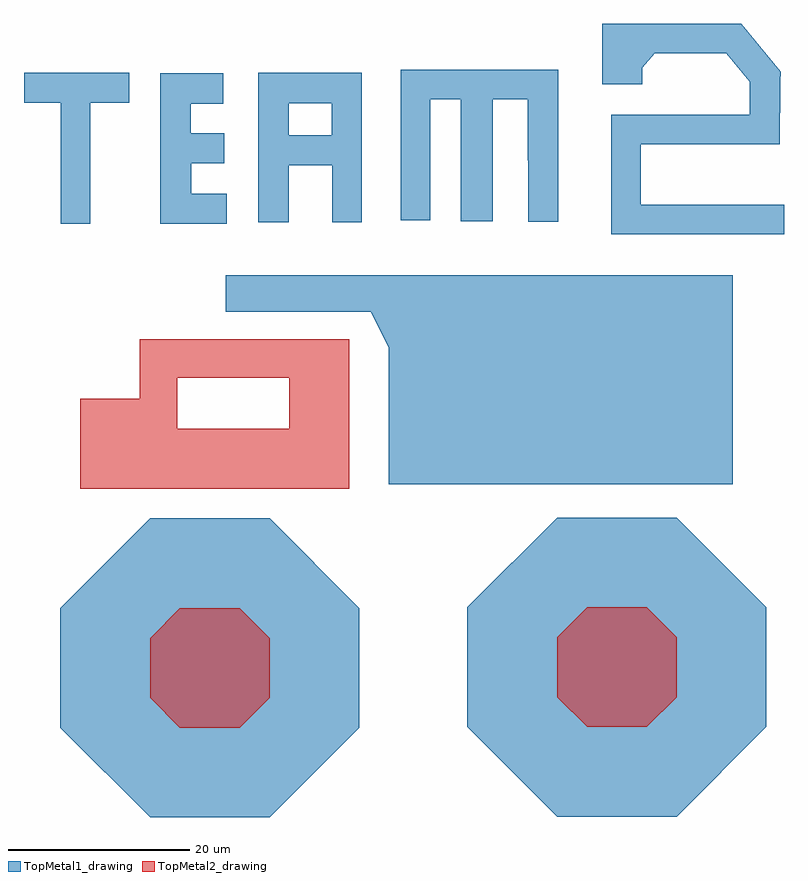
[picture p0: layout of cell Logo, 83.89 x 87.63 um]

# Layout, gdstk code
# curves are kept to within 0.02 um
import gdstk
lib = gdstk.Library(unit=1e-6, precision=1e-09)
def P(c, l, *ps):  # polygons
    for p in ps: c.add(gdstk.Polygon(p, *l))
TopMetal1_drawing = (126, 0)
TopMetal2_drawing = (134, 0)

logo = lib.new_cell('Logo')
P(logo, TopMetal1_drawing, [(15.31,17.05),(15.255,30.55),(11.38,30.55),(11.38,17.08),(7.87,17.08),(7.87,30.56),(4.5,30.56),(4.5,17.18),(1.22,17.18),(1.22,33.84),(18.59,33.84),(18.59,17.05)],
  [(-36.325,16.825),(-36.325,30.195),(-40.365,30.195),(-40.365,33.475),(-28.725,33.475),(-28.725,30.195),(-33.045,30.195),(-33.045,16.825)],
  [(-14.51,16.985),(-14.51,30.145),(-11.135,30.145),(-11.135,26.585),(-6.415,26.585),(-6.415,30.145),(-14.51,30.145),(-14.51,33.465),(-3.06,33.465),(-3.06,16.995),(-6.34,16.995),(-6.34,23.295),(-11.12,23.295),(-11.12,16.985)],
  [(-25.3,16.835),(-25.3,33.415),(-18.36,33.415),(-18.36,30.075),(-21.945,30.075),(-21.945,26.785),(-18.24,26.785),(-18.24,23.505),(-21.89,23.505),(-21.89,20.145),(-17.97,20.145),(-17.97,16.835)],
  [(24.44,15.645),(24.44,28.865),(39.74,28.865),(39.74,32.465),(37.17,35.635),(29.275,35.635),(27.88,34.06),(27.88,32.205),(23.44,32.205),(23.44,38.915),(38.79,38.915),(43.16,33.585),(43.1,32.555),(43.07,25.585),(27.72,25.585),(27.72,18.925),(43.53,18.925),(43.53,15.645)],
  [(-0.105,-11.95),(-0.105,3.115),(-2.105,7.115),(-18.105,7.115),(-18.105,11.115),(37.9,11.115),(37.9,-11.95)],
  [(-26.455,-48.72),(-36.355,-38.82),(-36.355,-25.62),(-26.455,-15.72),(-13.255,-15.72),(-3.355,-25.62),(-3.355,-38.82),(-13.255,-48.72)],
  [(18.49,-48.63),(8.59,-38.73),(8.59,-25.53),(18.49,-15.63),(31.69,-15.63),(41.59,-25.53),(41.59,-38.73),(31.69,-48.63)])
P(logo, TopMetal2_drawing, [(-34.165,-12.43),(-34.165,-2.525),(-27.565,-2.525),(-27.565,-0.205),(-23.425,-0.205),(-23.425,-5.825),(-11.065,-5.825),(-11.065,-0.205),(-27.565,-0.205),(-27.565,4.075),(-4.465,4.075),(-4.465,-12.43)],
  [(-23.155,-38.82),(-26.455,-35.52),(-26.455,-28.92),(-23.155,-25.62),(-16.555,-25.62),(-13.255,-28.92),(-13.255,-35.52),(-16.555,-38.82)],
  [(21.79,-38.73),(18.49,-35.43),(18.49,-28.83),(21.79,-25.53),(28.39,-25.53),(31.69,-28.83),(31.69,-35.43),(28.39,-38.73)])

lib.write_gds('Logo.gds')
